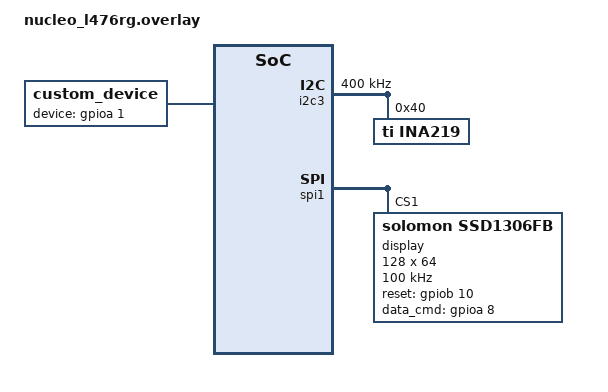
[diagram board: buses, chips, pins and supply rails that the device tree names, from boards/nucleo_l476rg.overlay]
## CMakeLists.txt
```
cmake_minimum_required(VERSION 3.20.0)

# default board and board's path
set(BOARD_ROOT ${CMAKE_CURRENT_LIST_DIR})
set(BOARD nucleo_l476rg)

# find and include zephyr dependencies
find_package(Zephyr REQUIRED
  HINTS $ENV{ZEPHYR_BASE}
        ${CMAKE_CURRENT_LIST_DIR}/../zephyr
)

# set project name
project(zephyr_template)

# application source files
FILE(GLOB app_sources
  src/main.c
)

target_sources(app PRIVATE ${app_sources})
```

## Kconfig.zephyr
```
menu "Project options"

rsource "drivers/Kconfig"

endmenu
```

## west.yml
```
manifest:
  defaults:
    remote: upstream

  remotes:
    - name: upstream
      url-base: https://github.com/zephyrproject-rtos

  projects:
    - name: cmsis
      revision: 4b96cbb174678dcd3ca86e11e1f24bc5f8726da0
      path: modules/hal/cmsis
    - name: hal_stm32
      revision: 22925907a6faeb601fc9a0d8cbb65c4b26d38043
      path: modules/hal/stm32
    - name: zephyr
      revision: v3.5.0
      path: zephyr
      west-commands: scripts/west-commands.yml

  self:
    path: app
    west-commands: scripts/west-commands.yml
  
```

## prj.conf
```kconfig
CONFIG_CUSTOM_DEVICE=y
```

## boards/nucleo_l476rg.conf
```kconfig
# Logging
CONFIG_LOG=y
CONFIG_SHELL=y
CONFIG_SHELL_LOG_BACKEND=y

# Sensors
CONFIG_I2C=y
CONFIG_SPI=y
CONFIG_SPI_STM32_USE_HW_SS=n

CONFIG_SENSOR=y
CONFIG_MAIN_STACK_SIZE=2048
CONFIG_PM=y
CONFIG_PM_DEVICE=y

# Flash
# CONFIG_FLASH=y
# CONFIG_FLASH_MAP=y
# CONFIG_FLASH_PAGE_LAYOUT=y

# CONFIG_FILE_SYSTEM=y
# CONFIG_FILE_SYSTEM_MKFS=y
# CONFIG_FS_FATFS_LFN=y
# CONFIG_FS_FATFS_MAX_LFN=32
# CONFIG_FAT_FILESYSTEM_ELM=y
# CONFIG_DISK_ACCESS=y

# USB
# CONFIG_USB_WORKQUEUE=y
# CONFIG_USB_DEVICE_STACK=y
# CONFIG_USB_MASS_STORAGE=y
# CONFIG_MASS_STORAGE_DISK_NAME="NAND"
# CONFIG_DISK_DRIVER_FLASH=y
# CONFIG_SPI_NOR_FLASH_LAYOUT_PAGE_SIZE=4096

# Display
# CONFIG_DISPLAY=y
```

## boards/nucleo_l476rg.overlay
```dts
/ {
	custom_device {
		compatible = "custom_device";
		status = "okay";
		device-gpios = <&gpioa 1 GPIO_ACTIVE_HIGH>;
	};
};

&i2c3 {
	status = "okay";
	clock-frequency = <I2C_BITRATE_FAST>;

	ina219: ina219@40 {
		status = "okay";
		compatible = "ti,ina219";
		reg = <0x40>;
		brng = <0>;
		pg = <0>;
		sadc = <13>;
		badc = <13>;
		shunt-milliohm = <100>;
		lsb-microamp = <10>;
	};
};

&clk_msi {
	status = "okay";
	msi-range = <11>;
	msi-pll-mode;
};

&spi1 {
        status = "okay";
        cs-gpios = <&gpiob 6 (GPIO_ACTIVE_LOW | GPIO_PULL_UP)>;

	display: display@1 {
		status = "okay";
		compatible = "solomon,ssd1306fb", "solomon,ssd1306fb-spi";
		reg = <0x01>;
		spi-max-frequency = <100000>;
		segment-offset = <0>;
		page-offset = <0>;
		display-offset = <0>;
		multiplex-ratio = <0>;

		prechargep = <1>;
		height = <64>;
		width = <128>;
		reset-gpios = <&gpiob 10 GPIO_ACTIVE_HIGH>;
		data_cmd-gpios = <&gpioa 8 GPIO_ACTIVE_HIGH>;
	};
};
```

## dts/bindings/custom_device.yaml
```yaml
description: Custom device

compatible: "custom_device"

include: base.yaml

properties:
    device-gpios:
      type: phandle-array
      required: true
      description: Pin to be controlled.
```

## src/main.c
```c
#include <zephyr/kernel.h>
#include <zephyr/device.h>
#include <zephyr/pm/device.h>

#include <zephyr/logging/log.h>
LOG_MODULE_REGISTER(main);

/* Get pointer to any device from dts which is `custom_device` compatible */
const struct device *dev = DEVICE_DT_GET_ANY(custom_device);

int main(void)
{
	LOG_INF("App has started");

        if (!device_is_ready(dev)) {
                LOG_ERR("Device is not available");
        }

	while (1) {
                pm_device_action_run(dev, PM_DEVICE_ACTION_TURN_ON);
		k_sleep(K_MSEC(1000));
                pm_device_action_run(dev, PM_DEVICE_ACTION_TURN_OFF);
                k_sleep(K_MSEC(1000));

		LOG_INF("One cycle passed");
	}
}
```
